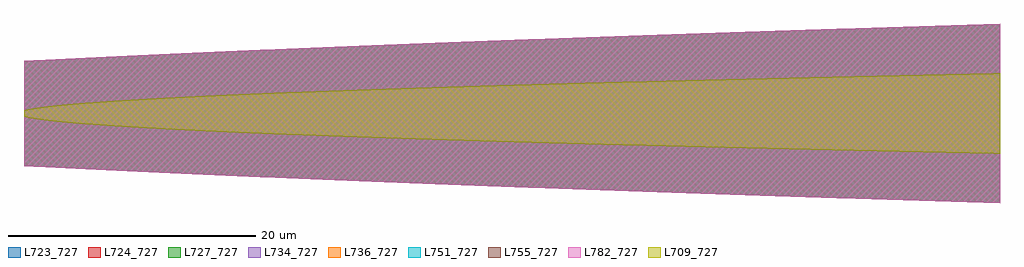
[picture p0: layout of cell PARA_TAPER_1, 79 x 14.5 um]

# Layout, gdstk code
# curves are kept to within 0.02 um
import gdstk
lib = gdstk.Library(unit=1e-6, precision=1e-09)
def P(c, l, *ps):  # polygons
    for p in ps: c.add(gdstk.Polygon(p, *l))
L709_727 = (709, 727)
L723_727 = (723, 727)
L724_727 = (724, 727)
L727_727 = (727, 727)
L734_727 = (734, 727)
L736_727 = (736, 727)
L751_727 = (751, 727)
L755_727 = (755, 727)
L782_727 = (782, 727)

para_taper_1 = lib.new_cell('PARA_TAPER_1')
P(para_taper_1, L709_727, [(-79,0.25),(-78.014,0.44),(-76.484,0.63),(-74.534,0.81),(-71.946,1),(-65.349,1.37),(-56.429,1.75),(-45.655,2.12),(-32.446,2.5),(-17.065,2.88),(0,3.25),(0,-3.25),(-20.484,-2.8),(-37.21,-2.37),(-51.154,-1.94),(-62.542,-1.5),(-70.856,-1.07),(-74.034,-0.85),(-76.484,-0.63),(-78.014,-0.44),(-79,-0.25)])
P(para_taper_1, L723_727, [(-79,4.25),(-62.885,5.01),(-44.389,5.76),(-23.912,6.49),(0,7.25),(0,-7.25),(-23.912,-6.49),(-44.389,-5.76),(-62.885,-5.01),(-79,-4.25)])
P(para_taper_1, L724_727, [(-79,4.25),(-62.885,5.01),(-44.389,5.76),(-23.912,6.49),(0,7.25),(0,-7.25),(-23.912,-6.49),(-44.389,-5.76),(-62.885,-5.01),(-79,-4.25)])
P(para_taper_1, L727_727, [(-79,4.25),(-62.885,5.01),(-44.389,5.76),(-23.912,6.49),(0,7.25),(0,-7.25),(-23.912,-6.49),(-44.389,-5.76),(-62.885,-5.01),(-79,-4.25)])
P(para_taper_1, L734_727, [(-79,4.25),(-62.885,5.01),(-44.389,5.76),(-23.912,6.49),(0,7.25),(0,-7.25),(-23.912,-6.49),(-44.389,-5.76),(-62.885,-5.01),(-79,-4.25)])
P(para_taper_1, L736_727, [(-79,4.25),(-62.885,5.01),(-44.389,5.76),(-23.912,6.49),(0,7.25),(0,-7.25),(-23.912,-6.49),(-44.389,-5.76),(-62.885,-5.01),(-79,-4.25)])
P(para_taper_1, L751_727, [(-79,4.25),(-62.885,5.01),(-44.389,5.76),(-23.912,6.49),(0,7.25),(0,-7.25),(-23.912,-6.49),(-44.389,-5.76),(-62.885,-5.01),(-79,-4.25)])
P(para_taper_1, L755_727, [(-79,4.25),(-62.885,5.01),(-44.389,5.76),(-23.912,6.49),(0,7.25),(0,-7.25),(-23.912,-6.49),(-44.389,-5.76),(-62.885,-5.01),(-79,-4.25)])
P(para_taper_1, L782_727, [(-79,4.25),(-62.885,5.01),(-44.389,5.76),(-23.912,6.49),(0,7.25),(0,-7.25),(-23.912,-6.49),(-44.389,-5.76),(-62.885,-5.01),(-79,-4.25)])

lib.write_gds('PARA_TAPER_1.gds')
